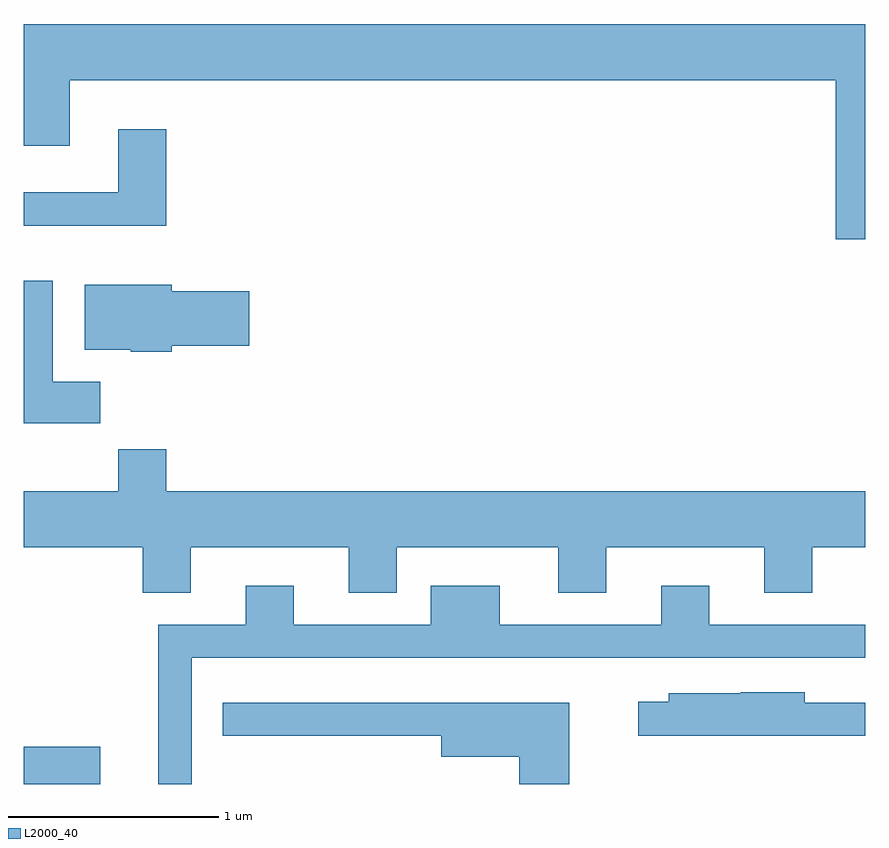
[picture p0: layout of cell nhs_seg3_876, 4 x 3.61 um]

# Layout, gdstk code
import gdstk
lib = gdstk.Library(unit=1e-6, precision=1e-09)
def R(c, l, rs):  # rectangles x0, y0, x1, y1
    for r in rs: c.add(gdstk.rectangle(r[:2], r[2:], *l))
def P(c, l, *ps):  # polygons
    for p in ps: c.add(gdstk.Polygon(p, *l))
L2000_40 = (2000, 40)

nhs_seg3_876 = lib.new_cell('nhs_seg3_876')
R(nhs_seg3_876, L2000_40, [(209.611,1235.892,209.974,1236.069)])
P(nhs_seg3_876, L2000_40, [(213.611,1239.504),(209.611,1239.504),(209.611,1238.926),(209.829,1238.926),(209.829,1239.236),(213.471,1239.236),(213.471,1238.481),(213.611,1238.481)],
  [(210.289,1239.004),(210.061,1239.004),(210.061,1238.704),(209.611,1238.704),(209.611,1238.546),(210.289,1238.546)],
  [(209.974,1237.804),(209.749,1237.804),(209.749,1238.284),(209.611,1238.284),(209.611,1237.606),(209.974,1237.606)],
  [(210.314,1237.976),(210.684,1237.976),(210.684,1238.234),(210.314,1238.234),(210.314,1238.264),(209.901,1238.264),(209.901,1237.956),(210.12,1237.956),(210.12,1237.946),(210.314,1237.946)],
  [(210.404,1237.016),(211.156,1237.016),(211.156,1236.801),(211.384,1236.801),(211.384,1237.016),(212.151,1237.016),(212.151,1236.801),(212.379,1236.801),(212.379,1237.016),(213.131,1237.016),(213.131,1236.801),(213.359,1236.801),(213.359,1237.016),(213.611,1237.016),(213.611,1237.284),(210.289,1237.284),(210.289,1237.484),(210.061,1237.484),(210.061,1237.284),(209.611,1237.284),(209.611,1237.016),(210.176,1237.016),(210.176,1236.801),(210.404,1236.801)],
  [(210.409,1236.491),(213.611,1236.491),(213.611,1236.649),(212.869,1236.649),(212.869,1236.834),(212.641,1236.834),(212.641,1236.649),(211.874,1236.649),(211.874,1236.834),(211.546,1236.834),(211.546,1236.649),(210.894,1236.649),(210.894,1236.834),(210.666,1236.834),(210.666,1236.649),(210.251,1236.649),(210.251,1235.892),(210.409,1235.892)],
  [(213.611,1236.279),(213.324,1236.279),(213.324,1236.329),(213.02,1236.329),(213.02,1236.324),(212.676,1236.324),(212.676,1236.284),(212.533,1236.284),(212.533,1236.121),(213.611,1236.121)],
  [(212.204,1236.279),(210.558,1236.279),(210.558,1236.121),(211.596,1236.121),(211.596,1236.021),(211.966,1236.021),(211.966,1235.892),(212.204,1235.892)])

lib.write_gds('nhs_seg3_876.gds')
